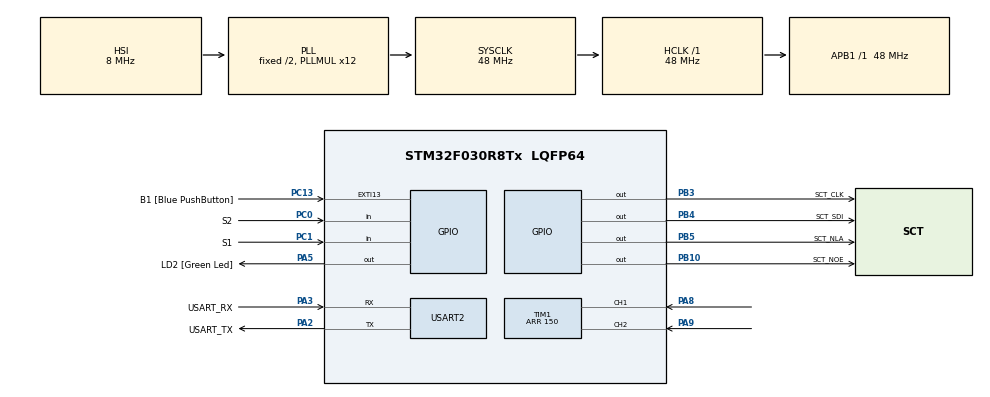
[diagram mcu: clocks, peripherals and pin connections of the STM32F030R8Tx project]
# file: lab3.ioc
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Mcu.Family=STM32F0
Mcu.Name=STM32F030R8Tx
Mcu.Package=LQFP64
PA13.GPIO_Label=TMS
PA13.Mode=Serial_Wire
PA13.Signal=SYS_SWDIO
PA14.GPIO_Label=TCK
PA14.Mode=Serial_Wire
PA14.Signal=SYS_SWCLK
PA2.GPIO_Label=USART_TX
PA2.GPIO_Mode=GPIO_MODE_AF_PP
PA2.GPIO_PuPd=GPIO_NOPULL
PA2.GPIO_Speed=GPIO_SPEED_FREQ_LOW
PA2.Mode=Asynchronous
PA2.Signal=USART2_TX
PA3.GPIO_Label=USART_RX
PA3.GPIO_Mode=GPIO_MODE_AF_PP
PA3.GPIO_PuPd=GPIO_NOPULL
PA3.GPIO_Speed=GPIO_SPEED_FREQ_LOW
PA3.Mode=Asynchronous
PA3.Signal=USART2_RX
PA5.GPIO_Label=LD2 [Green Led]
PA5.GPIO_Mode=GPIO_MODE_OUTPUT_PP
PA5.GPIO_PuPd=GPIO_NOPULL
PA5.GPIO_Speed=GPIO_SPEED_FREQ_LOW
PA5.Signal=GPIO_Output
PA8.Signal=S_TIM1_CH1
PA9.Signal=S_TIM1_CH2
PB10.GPIO_Label=SCT_NOE
PB10.Signal=GPIO_Output
PB3.GPIO_Label=SCT_CLK
PB3.Signal=GPIO_Output
PB4.GPIO_Label=SCT_SDI
PB4.Signal=GPIO_Output
PB5.GPIO_Label=SCT_NLA
PB5.Signal=GPIO_Output
PC0.GPIO_Label=S2
PC0.GPIO_PuPd=GPIO_PULLUP
PC0.Signal=GPIO_Input
PC1.GPIO_Label=S1
PC1.GPIO_PuPd=GPIO_PULLUP
PC1.Signal=GPIO_Input
PC13.GPIO_Label=B1 [Blue PushButton]
PC13.GPIO_ModeDefaultEXTI=GPIO_MODE_IT_FALLING
PC13.Signal=GPXTI13
PC14-OSC32_IN.Mode=LSE-External-Oscillator
PC14-OSC32_IN.Signal=RCC_OSC32_IN
PC15-OSC32_OUT.Mode=LSE-External-Oscillator
PC15-OSC32_OUT.Signal=RCC_OSC32_OUT
PF0-OSC_IN.Mode=HSE-External-Clock-Source
PF0-OSC_IN.Signal=RCC_OSC_IN
PF1-OSC_OUT.Signal=RCC_OSC_OUT
ProjectManager.HeapSize=0x200
ProjectManager.StackSize=0x400
ProjectManager.TargetToolchain=STM32CubeIDE
RCC.AHBFreq_Value=48000000
RCC.APB1Freq_Value=48000000
RCC.APB1TimFreq_Value=48000000
RCC.HCLKFreq_Value=48000000
RCC.PLLMUL=RCC_PLL_MUL12
RCC.SYSCLKFreq_VALUE=48000000
RCC.SYSCLKSource=RCC_SYSCLKSOURCE_PLLCLK
SH.S_TIM1_CH1.0=TIM1_CH1,Encoder_Interface
SH.S_TIM1_CH2.0=TIM1_CH2,Encoder_Interface
TIM1.IC1Polarity=TIM_ICPOLARITY_FALLING
TIM1.IC2Polarity=TIM_ICPOLARITY_FALLING
TIM1.Period=150
USART2.VirtualMode-Asynchronous=VM_ASYNC
board=NUCLEO-F030R8

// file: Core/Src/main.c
/* USER CODE BEGIN Header */
/**
  ******************************************************************************
  * @file           : main.c
  * @brief          : Main program body
  ******************************************************************************
  * @attention
  *
  * Copyright (c) 2023 STMicroelectronics.
  * All rights reserved.
  *
  * This software is licensed under terms that can be found in the LICENSE file
  * in the root directory of this software component.
  * If no LICENSE file comes with this software, it is provided AS-IS.
  *
  ******************************************************************************
  */
/* USER CODE END Header */
#include "main.h"

/* USER CODE BEGIN Includes */
#include "sct.h"
/* USER CODE END Includes */

TIM_HandleTypeDef htim1;

UART_HandleTypeDef huart2;

/* USER CODE BEGIN PV */
static volatile uint16_t actual_val = 0;
static volatile uint16_t start = 0;
/* USER CODE END PV */

void SystemClock_Config(void);
static void MX_GPIO_Init(void);
static void MX_USART2_UART_Init(void);
static void MX_TIM1_Init(void);

int main(void)
{

  /* MCU Configuration--------------------------------------------------------*/

  /* Reset of all peripherals, Initializes the Flash interface and the Systick. */
  HAL_Init();

  /* Configure the system clock */
  SystemClock_Config();

  /* Initialize all configured peripherals */
  MX_GPIO_Init();
  MX_USART2_UART_Init();
  MX_TIM1_Init();
  /* USER CODE BEGIN 2 */
  sct_init();
  sct_led(0x7A5C36DE);
  HAL_Delay(1000);
  static enum {START, STOP, RESET} state = STOP;

  HAL_TIM_Encoder_Start(&htim1, htim1.Channel);
  /* USER CODE END 2 */

  /* Infinite loop */
  while (1)
  {

    /* USER CODE BEGIN 3 */
	/*for(uint32_t i=0; i<999; i+=111){
		 sct_value(i);
		 HAL_Delay(1000);
	}*/
	/*sct_value(__HAL_TIM_GET_COUNTER(&htim1));
	 *
	 */

	  	 if (!HAL_GPIO_ReadPin(S1_GPIO_Port, S1_Pin)){
			 actual_val = 0;
			 state = RESET;
		 }
		 if (!HAL_GPIO_ReadPin(S2_GPIO_Port, S2_Pin)){
			 if (state == STOP || state == RESET){
				 state = START;
			 }
			 else {
				 state = STOP;
			 }
		 }

		 switch(state){
		 	 case START:
				 sct_value(actual_val++);
				 HAL_Delay(1000);
				 if (actual_val == 999){
					 actual_val = 0;
				 }
				 break;
		 	 case STOP:
				 sct_value(actual_val);
				 HAL_Delay(1000);
				 break;
		 	 case RESET:
				 sct_init();
				 break;
		 }
  }
  /* USER CODE END 3 */
}

void SystemClock_Config(void)
{
  RCC_OscInitTypeDef RCC_OscInitStruct = {0};
  RCC_ClkInitTypeDef RCC_ClkInitStruct = {0};

  /** Initializes the RCC Oscillators according to the specified parameters
  * in the RCC_OscInitTypeDef structure.
  */
  RCC_OscInitStruct.OscillatorType = RCC_OSCILLATORTYPE_HSI;
  RCC_OscInitStruct.HSIState = RCC_HSI_ON;
  RCC_OscInitStruct.HSICalibrationValue = RCC_HSICALIBRATION_DEFAULT;
  RCC_OscInitStruct.PLL.PLLState = RCC_PLL_ON;
  RCC_OscInitStruct.PLL.PLLSource = RCC_PLLSOURCE_HSI;
  RCC_OscInitStruct.PLL.PLLMUL = RCC_PLL_MUL12;
  RCC_OscInitStruct.PLL.PREDIV = RCC_PREDIV_DIV1;
  if (HAL_RCC_OscConfig(&RCC_OscInitStruct) != HAL_OK)
  {
    Error_Handler();
  }

  /** Initializes the CPU, AHB and APB buses clocks
  */
  RCC_ClkInitStruct.ClockType = RCC_CLOCKTYPE_HCLK|RCC_CLOCKTYPE_SYSCLK
                              |RCC_CLOCKTYPE_PCLK1;
  RCC_ClkInitStruct.SYSCLKSource = RCC_SYSCLKSOURCE_PLLCLK;
  RCC_ClkInitStruct.AHBCLKDivider = RCC_SYSCLK_DIV1;
  RCC_ClkInitStruct.APB1CLKDivider = RCC_HCLK_DIV1;

  if (HAL_RCC_ClockConfig(&RCC_ClkInitStruct, FLASH_LATENCY_1) != HAL_OK)
  {
    Error_Handler();
  }
}

static void MX_TIM1_Init(void)
{

  TIM_Encoder_InitTypeDef sConfig = {0};
  TIM_MasterConfigTypeDef sMasterConfig = {0};

  htim1.Instance = TIM1;
  htim1.Init.Prescaler = 0;
  htim1.Init.CounterMode = TIM_COUNTERMODE_UP;
  htim1.Init.Period = 150;
  htim1.Init.ClockDivision = TIM_CLOCKDIVISION_DIV1;
  htim1.Init.RepetitionCounter = 0;
  htim1.Init.AutoReloadPreload = TIM_AUTORELOAD_PRELOAD_DISABLE;
  sConfig.EncoderMode = TIM_ENCODERMODE_TI1;
  sConfig.IC1Polarity = TIM_ICPOLARITY_FALLING;
  sConfig.IC1Selection = TIM_ICSELECTION_DIRECTTI;
  sConfig.IC1Prescaler = TIM_ICPSC_DIV1;
  sConfig.IC1Filter = 0;
  sConfig.IC2Polarity = TIM_ICPOLARITY_FALLING;
  sConfig.IC2Selection = TIM_ICSELECTION_DIRECTTI;
  sConfig.IC2Prescaler = TIM_ICPSC_DIV1;
  sConfig.IC2Filter = 0;
  if (HAL_TIM_Encoder_Init(&htim1, &sConfig) != HAL_OK)
  {
    Error_Handler();
  }
  sMasterConfig.MasterOutputTrigger = TIM_TRGO_RESET;
  sMasterConfig.MasterSlaveMode = TIM_MASTERSLAVEMODE_DISABLE;
  if (HAL_TIMEx_MasterConfigSynchronization(&htim1, &sMasterConfig) != HAL_OK)
  {
    Error_Handler();
  }

}

static void MX_USART2_UART_Init(void)
{

  huart2.Instance = USART2;
  huart2.Init.BaudRate = 38400;
  huart2.Init.WordLength = UART_WORDLENGTH_8B;
  huart2.Init.StopBits = UART_STOPBITS_1;
  huart2.Init.Parity = UART_PARITY_NONE;
  huart2.Init.Mode = UART_MODE_TX_RX;
  huart2.Init.HwFlowCtl = UART_HWCONTROL_NONE;
  huart2.Init.OverSampling = UART_OVERSAMPLING_16;
  huart2.Init.OneBitSampling = UART_ONE_BIT_SAMPLE_DISABLE;
  huart2.AdvancedInit.AdvFeatureInit = UART_ADVFEATURE_NO_INIT;
  if (HAL_UART_Init(&huart2) != HAL_OK)
  {
    Error_Handler();
  }

}

static void MX_GPIO_Init(void)
{
  GPIO_InitTypeDef GPIO_InitStruct = {0};

  /* GPIO Ports Clock Enable */
  __HAL_RCC_GPIOC_CLK_ENABLE();
  __HAL_RCC_GPIOF_CLK_ENABLE();
  __HAL_RCC_GPIOA_CLK_ENABLE();
  __HAL_RCC_GPIOB_CLK_ENABLE();

  /*Configure GPIO pin Output Level */
  HAL_GPIO_WritePin(LD2_GPIO_Port, LD2_Pin, GPIO_PIN_RESET);

  /*Configure GPIO pin Output Level */
  HAL_GPIO_WritePin(GPIOB, SCT_NOE_Pin|SCT_CLK_Pin|SCT_SDI_Pin|SCT_NLA_Pin, GPIO_PIN_RESET);

  /*Configure GPIO pin : B1_Pin */
  GPIO_InitStruct.Pin = B1_Pin;
  GPIO_InitStruct.Mode = GPIO_MODE_IT_FALLING;
  GPIO_InitStruct.Pull = GPIO_NOPULL;
  HAL_GPIO_Init(B1_GPIO_Port, &GPIO_InitStruct);

  /*Configure GPIO pins : S2_Pin S1_Pin */
  GPIO_InitStruct.Pin = S2_Pin|S1_Pin;
  GPIO_InitStruct.Mode = GPIO_MODE_INPUT;
  GPIO_InitStruct.Pull = GPIO_PULLUP;
  HAL_GPIO_Init(GPIOC, &GPIO_InitStruct);

  /*Configure GPIO pin : LD2_Pin */
  GPIO_InitStruct.Pin = LD2_Pin;
  GPIO_InitStruct.Mode = GPIO_MODE_OUTPUT_PP;
  GPIO_InitStruct.Pull = GPIO_NOPULL;
  GPIO_InitStruct.Speed = GPIO_SPEED_FREQ_LOW;
  HAL_GPIO_Init(LD2_GPIO_Port, &GPIO_InitStruct);

  /*Configure GPIO pins : SCT_NOE_Pin SCT_CLK_Pin SCT_SDI_Pin SCT_NLA_Pin */
  GPIO_InitStruct.Pin = SCT_NOE_Pin|SCT_CLK_Pin|SCT_SDI_Pin|SCT_NLA_Pin;
  GPIO_InitStruct.Mode = GPIO_MODE_OUTPUT_PP;
  GPIO_InitStruct.Pull = GPIO_NOPULL;
  GPIO_InitStruct.Speed = GPIO_SPEED_FREQ_LOW;
  HAL_GPIO_Init(GPIOB, &GPIO_InitStruct);

}

void Error_Handler(void)
{
  __disable_irq();
  while (1)
  {
  }
}
